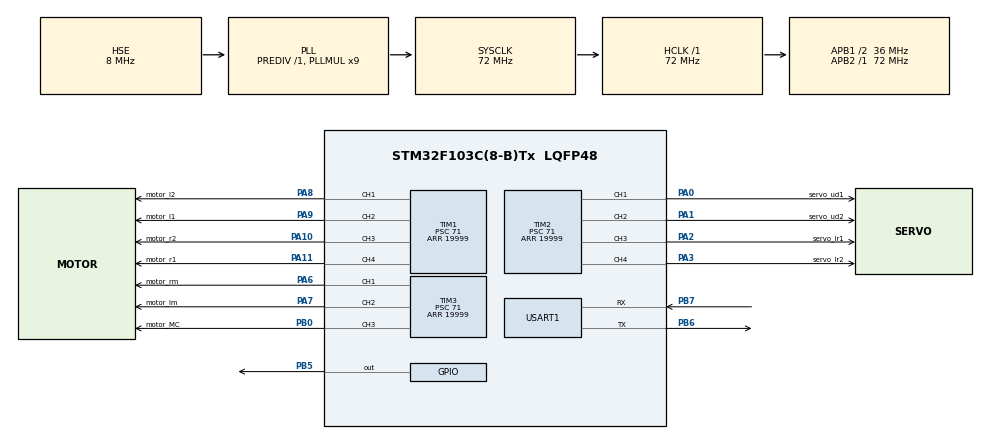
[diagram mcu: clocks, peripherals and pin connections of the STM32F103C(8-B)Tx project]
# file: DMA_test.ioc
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Dma.Request0=USART1_RX
Dma.Request1=USART1_TX
Dma.USART1_RX.0.Direction=DMA_PERIPH_TO_MEMORY
Dma.USART1_RX.0.Instance=DMA1_Channel5
Dma.USART1_RX.0.MemDataAlignment=DMA_MDATAALIGN_BYTE
Dma.USART1_RX.0.MemInc=DMA_MINC_ENABLE
Dma.USART1_RX.0.Mode=DMA_NORMAL
Dma.USART1_RX.0.PeriphDataAlignment=DMA_PDATAALIGN_BYTE
Dma.USART1_RX.0.PeriphInc=DMA_PINC_DISABLE
Dma.USART1_RX.0.Priority=DMA_PRIORITY_MEDIUM
Dma.USART1_TX.1.Direction=DMA_MEMORY_TO_PERIPH
Dma.USART1_TX.1.Instance=DMA1_Channel4
Dma.USART1_TX.1.MemDataAlignment=DMA_MDATAALIGN_BYTE
Dma.USART1_TX.1.MemInc=DMA_MINC_ENABLE
Dma.USART1_TX.1.Mode=DMA_NORMAL
Dma.USART1_TX.1.PeriphDataAlignment=DMA_PDATAALIGN_BYTE
Dma.USART1_TX.1.PeriphInc=DMA_PINC_DISABLE
Dma.USART1_TX.1.Priority=DMA_PRIORITY_MEDIUM
Mcu.Family=STM32F1
Mcu.Name=STM32F103C(8-B)Tx
Mcu.Package=LQFP48
NVIC.DMA1_Channel4_IRQn=true\:0\:0\:false\:false\:true\:false\:true\:true
NVIC.DMA1_Channel5_IRQn=true\:0\:0\:false\:false\:true\:false\:true\:true
NVIC.PriorityGroup=NVIC_PRIORITYGROUP_4
NVIC.USART1_IRQn=true\:0\:0\:false\:false\:true\:true\:true\:true
PA0-WKUP.GPIO_Label=servo_ud1
PA0-WKUP.Signal=S_TIM2_CH1_ETR
PA1.GPIO_Label=servo_ud2
PA1.Signal=S_TIM2_CH2
PA10.GPIO_Label=motor_r2
PA10.Signal=S_TIM1_CH3
PA11.GPIO_Label=motor_r1
PA11.Signal=S_TIM1_CH4
PA2.GPIO_Label=servo_lr1
PA2.Signal=S_TIM2_CH3
PA3.GPIO_Label=servo_lr2
PA3.Signal=S_TIM2_CH4
PA6.GPIO_Label=motor_rm
PA6.Signal=S_TIM3_CH1
PA7.GPIO_Label=motor_lm
PA7.Signal=S_TIM3_CH2
PA8.GPIO_Label=motor_l2
PA8.Signal=S_TIM1_CH1
PA9.GPIO_Label=motor_l1
PA9.Signal=S_TIM1_CH2
PB0.GPIO_Label=motor_MC
PB0.Signal=S_TIM3_CH3
PB5.Signal=GPIO_Output
PB6.Mode=Asynchronous
PB6.Signal=USART1_TX
PB7.Mode=Asynchronous
PB7.Signal=USART1_RX
PD0-OSC_IN.Mode=HSE-External-Oscillator
PD0-OSC_IN.Signal=RCC_OSC_IN
PD1-OSC_OUT.Mode=HSE-External-Oscillator
PD1-OSC_OUT.Signal=RCC_OSC_OUT
ProjectManager.HeapSize=0x200
ProjectManager.StackSize=0x400
ProjectManager.TargetToolchain=MDK-ARM V5.32
RCC.AHBFreq_Value=72000000
RCC.APB1CLKDivider=RCC_HCLK_DIV2
RCC.APB1Freq_Value=36000000
RCC.APB1TimFreq_Value=72000000
RCC.APB2Freq_Value=72000000
RCC.APB2TimFreq_Value=72000000
RCC.HCLKFreq_Value=72000000
RCC.PLLMUL=RCC_PLL_MUL9
RCC.PLLSourceVirtual=RCC_PLLSOURCE_HSE
RCC.SYSCLKFreq_VALUE=72000000
RCC.SYSCLKSource=RCC_SYSCLKSOURCE_PLLCLK
RCC.USBFreq_Value=72000000
SH.S_TIM1_CH1.0=TIM1_CH1,PWM Generation1 CH1
SH.S_TIM1_CH2.0=TIM1_CH2,PWM Generation2 CH2
SH.S_TIM1_CH3.0=TIM1_CH3,PWM Generation3 CH3
SH.S_TIM1_CH4.0=TIM1_CH4,PWM Generation4 CH4
SH.S_TIM2_CH1_ETR.0=TIM2_CH1,PWM Generation1 CH1
SH.S_TIM2_CH2.0=TIM2_CH2,PWM Generation2 CH2
SH.S_TIM2_CH3.0=TIM2_CH3,PWM Generation3 CH3
SH.S_TIM2_CH4.0=TIM2_CH4,PWM Generation4 CH4
SH.S_TIM3_CH1.0=TIM3_CH1,PWM Generation1 CH1
SH.S_TIM3_CH2.0=TIM3_CH2,PWM Generation2 CH2
SH.S_TIM3_CH3.0=TIM3_CH3,PWM Generation3 CH3
TIM1.Channel-PWM\ Generation1\ CH1=TIM_CHANNEL_1
TIM1.Channel-PWM\ Generation2\ CH2=TIM_CHANNEL_2
TIM1.Channel-PWM\ Generation3\ CH3=TIM_CHANNEL_3
TIM1.Channel-PWM\ Generation4\ CH4=TIM_CHANNEL_4
TIM1.Period=19999
TIM1.Prescaler=71
TIM2.Channel-PWM\ Generation1\ CH1=TIM_CHANNEL_1
TIM2.Channel-PWM\ Generation2\ CH2=TIM_CHANNEL_2
TIM2.Channel-PWM\ Generation3\ CH3=TIM_CHANNEL_3
TIM2.Channel-PWM\ Generation4\ CH4=TIM_CHANNEL_4
TIM2.Period=19999
TIM2.Prescaler=71
TIM3.Channel-PWM\ Generation1\ CH1=TIM_CHANNEL_1
TIM3.Channel-PWM\ Generation2\ CH2=TIM_CHANNEL_2
TIM3.Channel-PWM\ Generation3\ CH3=TIM_CHANNEL_3
TIM3.Period=19999
TIM3.Prescaler=71
USART1.VirtualMode=VM_ASYNC
VP_SYS_VS_ND.Mode=No_Debug
board=custom

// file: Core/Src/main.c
/* USER CODE BEGIN Header */
/**
  ******************************************************************************
  * @file           : main.c
  * @brief          : Main program body
  ******************************************************************************
  * @attention
  *
  * Copyright (c) 2023 STMicroelectronics.
  * All rights reserved.
  *
  * This software is licensed under terms that can be found in the LICENSE file
  * in the root directory of this software component.
  * If no LICENSE file comes with this software, it is provided AS-IS.
  *
  ******************************************************************************
  */
/* USER CODE END Header */
#include "main.h"
#include "dma.h"
#include "tim.h"
#include "usart.h"
#include "gpio.h"

/* USER CODE BEGIN Includes */
#include "string.h"
#include "servoTo.h"
/* USER CODE END Includes */

void SystemClock_Config(void);

/* USER CODE BEGIN 0 */
Servo_init Servo_ud1;
Servo_init Servo_ud2;
Servo_init Servo_lr1;
Servo_init Servo_lr2;
/* USER CODE END 0 */

int main(void)
{
  /* USER CODE BEGIN 1 */
    servo_Pin_Init(&Servo_ud1,&htim2,servo_ud1_GPIO_Port,servo_ud1_Pin,TIM_CHANNEL_1);
    servo_Pin_Init(&Servo_ud2,&htim2,servo_ud2_GPIO_Port,servo_ud2_Pin,TIM_CHANNEL_2);
    servo_Pin_Init(&Servo_lr1,&htim2,servo_lr1_GPIO_Port,servo_lr1_Pin,TIM_CHANNEL_3);
    servo_Pin_Init(&Servo_lr2,&htim2,servo_lr2_GPIO_Port,servo_lr2_Pin,TIM_CHANNEL_4);
//    Servo_state_Init(&Servo_ud1_pin,&Servo_ud1,50);
//    Servo_state_Init(&Servo_ud2_pin,&Servo_ud2,50);
//    Servo_state_Init(&Servo_lr1_pin,&Servo_lr1,50);
//    Servo_state_Init(&Servo_lr2_pin,&Servo_lr2,50);

  /* USER CODE END 1 */

  /* MCU Configuration--------------------------------------------------------*/

  /* Reset of all peripherals, Initializes the Flash interface and the Systick. */
  HAL_Init();

  /* Configure the system clock */
  SystemClock_Config();

  /* Initialize all configured peripherals */
  MX_GPIO_Init();
  MX_DMA_Init();
  MX_USART1_UART_Init();
  MX_TIM1_Init();
  MX_TIM2_Init();
  MX_TIM3_Init();

  /* Infinite loop */
  /* USER CODE BEGIN WHILE */
  while (1)
  {
      Servo_To(&Servo_lr1,45);
      HAL_Delay(1000);
      Servo_To(&Servo_lr1,135);
      HAL_Delay(1000);
      Servo_currentposition(&Servo_lr1);
    /* USER CODE END WHILE */

    /* USER CODE BEGIN 3 */
    if(recv_end_flag == 1)  //接收完成标志
		{

			DMA_Usart1_Send(rx_buffer, rx_len);
			//HAL_Delay(1000);
			recv_end_flag = 0;//清除接收结束标志�?

        }
		HAL_UART_Receive_DMA(&huart1,rx_buffer,BUFFER_SIZE);//重新打开DMA接收
  }
  /* USER CODE END 3 */
}

void SystemClock_Config(void)
{
  RCC_OscInitTypeDef RCC_OscInitStruct = {0};
  RCC_ClkInitTypeDef RCC_ClkInitStruct = {0};

  /** Initializes the RCC Oscillators according to the specified parameters
  * in the RCC_OscInitTypeDef structure.
  */
  RCC_OscInitStruct.OscillatorType = RCC_OSCILLATORTYPE_HSE;
  RCC_OscInitStruct.HSEState = RCC_HSE_ON;
  RCC_OscInitStruct.HSEPredivValue = RCC_HSE_PREDIV_DIV1;
  RCC_OscInitStruct.HSIState = RCC_HSI_ON;
  RCC_OscInitStruct.PLL.PLLState = RCC_PLL_ON;
  RCC_OscInitStruct.PLL.PLLSource = RCC_PLLSOURCE_HSE;
  RCC_OscInitStruct.PLL.PLLMUL = RCC_PLL_MUL9;
  if (HAL_RCC_OscConfig(&RCC_OscInitStruct) != HAL_OK)
  {
    Error_Handler();
  }

  /** Initializes the CPU, AHB and APB buses clocks
  */
  RCC_ClkInitStruct.ClockType = RCC_CLOCKTYPE_HCLK|RCC_CLOCKTYPE_SYSCLK
                              |RCC_CLOCKTYPE_PCLK1|RCC_CLOCKTYPE_PCLK2;
  RCC_ClkInitStruct.SYSCLKSource = RCC_SYSCLKSOURCE_PLLCLK;
  RCC_ClkInitStruct.AHBCLKDivider = RCC_SYSCLK_DIV1;
  RCC_ClkInitStruct.APB1CLKDivider = RCC_HCLK_DIV2;
  RCC_ClkInitStruct.APB2CLKDivider = RCC_HCLK_DIV1;

  if (HAL_RCC_ClockConfig(&RCC_ClkInitStruct, FLASH_LATENCY_2) != HAL_OK)
  {
    Error_Handler();
  }
}

void Error_Handler(void)
{
  __disable_irq();
  while (1)
  {
  }
}
